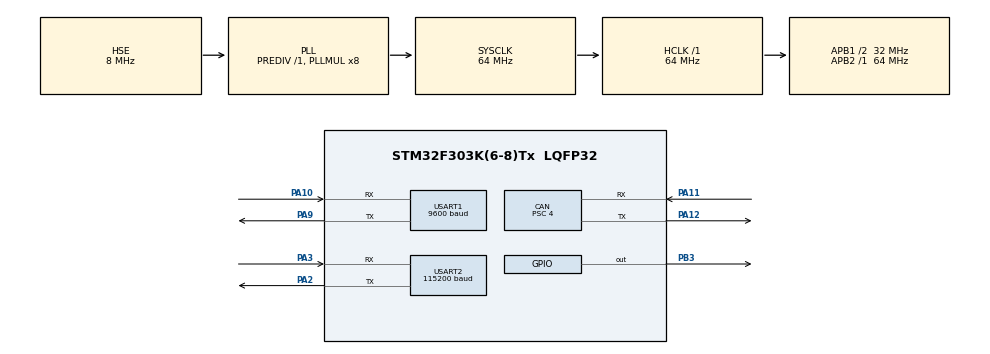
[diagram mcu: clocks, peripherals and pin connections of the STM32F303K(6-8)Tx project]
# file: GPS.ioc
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CAN.BS1=CAN_BS1_6TQ
CAN.CalculateBaudRate=1000000
CAN.CalculateTimeBit=1000
CAN.CalculateTimeQuantum=125.0
CAN.Prescaler=4
Dma.Request0=USART1_TX
Dma.Request1=USART1_RX
Dma.USART1_RX.1.Direction=DMA_PERIPH_TO_MEMORY
Dma.USART1_RX.1.Instance=DMA1_Channel5
Dma.USART1_RX.1.MemDataAlignment=DMA_MDATAALIGN_BYTE
Dma.USART1_RX.1.MemInc=DMA_MINC_ENABLE
Dma.USART1_RX.1.Mode=DMA_NORMAL
Dma.USART1_RX.1.PeriphDataAlignment=DMA_PDATAALIGN_BYTE
Dma.USART1_RX.1.PeriphInc=DMA_PINC_DISABLE
Dma.USART1_RX.1.Priority=DMA_PRIORITY_LOW
Dma.USART1_TX.0.Direction=DMA_MEMORY_TO_PERIPH
Dma.USART1_TX.0.Instance=DMA1_Channel4
Dma.USART1_TX.0.MemDataAlignment=DMA_MDATAALIGN_BYTE
Dma.USART1_TX.0.MemInc=DMA_MINC_ENABLE
Dma.USART1_TX.0.Mode=DMA_NORMAL
Dma.USART1_TX.0.PeriphDataAlignment=DMA_PDATAALIGN_BYTE
Dma.USART1_TX.0.PeriphInc=DMA_PINC_DISABLE
Dma.USART1_TX.0.Priority=DMA_PRIORITY_LOW
Mcu.Family=STM32F3
Mcu.Name=STM32F303K(6-8)Tx
Mcu.Package=LQFP32
NVIC.DMA1_Channel4_IRQn=true\:0\:0\:false\:false\:true\:false\:true\:true
NVIC.DMA1_Channel5_IRQn=true\:0\:0\:false\:false\:true\:false\:true\:true
NVIC.PriorityGroup=NVIC_PRIORITYGROUP_4
NVIC.USART1_IRQn=true\:0\:0\:false\:false\:true\:true\:true\:true
PA10.Mode=Asynchronous
PA10.Signal=USART1_RX
PA11.Mode=CAN_Activate
PA11.Signal=CAN_RX
PA12.Mode=CAN_Activate
PA12.Signal=CAN_TX
PA2.Mode=Asynchronous
PA2.Signal=USART2_TX
PA3.Mode=Asynchronous
PA3.Signal=USART2_RX
PA9.Mode=Asynchronous
PA9.Signal=USART1_TX
PB3.Signal=GPIO_Output
PF0\ /\ OSC_IN.Mode=HSE-External-Oscillator
PF0\ /\ OSC_IN.Signal=RCC_OSC_IN
PF1\ /\ OSC_OUT.Mode=HSE-External-Oscillator
PF1\ /\ OSC_OUT.Signal=RCC_OSC_OUT
ProjectManager.HeapSize=0x200
ProjectManager.StackSize=0x400
ProjectManager.TargetToolchain=STM32CubeIDE
RCC.AHBFreq_Value=64000000
RCC.APB1CLKDivider=RCC_HCLK_DIV2
RCC.APB1Freq_Value=32000000
RCC.APB1TimFreq_Value=64000000
RCC.APB2Freq_Value=64000000
RCC.APB2TimFreq_Value=64000000
RCC.CortexFreq_Value=64000000
RCC.HCLKFreq_Value=64000000
RCC.HSE_VALUE=8000000
RCC.HSI_VALUE=8000000
RCC.PLLMUL=RCC_PLL_MUL8
RCC.PLLSourceVirtual=RCC_PLLSOURCE_HSE
RCC.SYSCLKFreq_VALUE=64000000
RCC.SYSCLKSourceVirtual=RCC_SYSCLKSOURCE_PLLCLK
USART1.BaudRate=9600
USART1.VirtualMode-Asynchronous=VM_ASYNC
USART2.BaudRate=115200
USART2.VirtualMode-Asynchronous=VM_ASYNC
board=custom

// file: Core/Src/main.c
/* USER CODE BEGIN Header */
/**
  ******************************************************************************
  * @file           : main.c
  * @brief          : Main program body
  ******************************************************************************
  * @attention
  *
  * Copyright (c) 2024 STMicroelectronics.
  * All rights reserved.
  *
  * This software is licensed under terms that can be found in the LICENSE file
  * in the root directory of this software component.
  * If no LICENSE file comes with this software, it is provided AS-IS.
  *
  ******************************************************************************
  */
/* USER CODE END Header */
#include "main.h"

/* USER CODE BEGIN Includes */
#include <stdio.h>
#include <GNSS.h>
#include <can.h>

/* USER CODE END Includes */

CAN_HandleTypeDef hcan;

UART_HandleTypeDef huart1;
UART_HandleTypeDef huart2;
DMA_HandleTypeDef hdma_usart1_tx;
DMA_HandleTypeDef hdma_usart1_rx;

void SystemClock_Config(void);
static void MX_GPIO_Init(void);
static void MX_DMA_Init(void);
static void MX_USART1_UART_Init(void);
static void MX_USART2_UART_Init(void);
static void MX_CAN_Init(void);
/* USER CODE BEGIN PFP */

#ifdef __GNUC__
#define PUTCHAR_PROTOTYPE int __io_putchar(int ch)
#else
#define PUTCHAR_PROTOTYPE int fputc(int ch, FILE *f)
#endif

PUTCHAR_PROTOTYPE
{
  HAL_UART_Transmit(&huart2, (uint8_t *)&ch, 1, HAL_MAX_DELAY);
  return ch;
}

void Change_UART1_BaudRate(uint32_t baudRate);

/* USER CODE END PFP */

int main(void)
{

  /* MCU Configuration--------------------------------------------------------*/

  /* Reset of all peripherals, Initializes the Flash interface and the Systick. */
  HAL_Init();

  /* Configure the system clock */
  SystemClock_Config();

  /* Initialize all configured peripherals */
  MX_GPIO_Init();
  MX_DMA_Init();
  MX_USART1_UART_Init();
  MX_USART2_UART_Init();
  MX_CAN_Init();
  /* USER CODE BEGIN 2 */

  /* Set up activations for CAN */
  HAL_CAN_ActivateNotification(&hcan, CAN_IT_TX_MAILBOX_EMPTY);
  HAL_CAN_ActivateNotification(&hcan, CAN_IT_ERROR);
  HAL_CAN_ActivateNotification(&hcan, CAN_IT_BUSOFF);
  HAL_CAN_ActivateNotification(&hcan, CAN_IT_RX_FIFO0_MSG_PENDING);

  if (HAL_CAN_Start(&hcan) != HAL_OK)
  {
	  Error_Handler();
  }

  GNSS_Init(&GNSS_Handle, &huart1);
  HAL_Delay(100);

  GNSS_SetUBXConfig(&GNSS_Handle);
  Change_UART1_BaudRate(115200);
  HAL_UART_Receive_IT(GNSS_Handle.huart, GNSS_Handle.uartWorkingBuffer, 10);
  HAL_Delay(100);

  GNSS_LoadConfig(&GNSS_Handle);
  uint32_t Timer = HAL_GetTick();
  uint32_t Timer2 = HAL_GetTick();

  // Set operating mode of GPS
  GNSS_SetMode(&GNSS_Handle,Automotiv);

  /* USER CODE END 2 */

  /* Infinite loop */
  /* USER CODE BEGIN WHILE */
  int counter = 0;
  while (1)
  {
    /* USER CODE END WHILE */

    /* USER CODE BEGIN 3 */
    if ((HAL_GetTick() - Timer) > 100)
    {
		GNSS_GetPVTData(&GNSS_Handle);
		GNSS_ParseBuffer(&GNSS_Handle);

		if(GNSS_Handle.ckA_calc == GNSS_Handle.ckA_data && GNSS_Handle.ckB_calc == GNSS_Handle.ckB_data) {
			HAL_GPIO_WritePin(GPIOB, GPIO_PIN_3, GPIO_PIN_SET);

//			printf("FixType: %d\r\n", GNSS_Handle.fixType);
//			printf("Speed: %f\r\n", GNSS_Handle.gSpeed);
//			printf("Head mot: %f\r\n\n", GNSS_Handle.headMot);

			send_date(&GNSS_Handle);
			send_position(&GNSS_Handle);
			send_speed(&GNSS_Handle);
			send_status(&GNSS_Handle);

			if(counter == 50)
			{
				HAL_Delay(15);
				GNSS_GetDOPData(&GNSS_Handle);
				GNSS_ParseBuffer(&GNSS_Handle);

				counter = 0;

				printf("HDOP: %.2f\r\n\n", GNSS_Handle.hDOP);
			}
			else
			{
				counter = counter + 1;
			}

		} else {
			HAL_GPIO_WritePin(GPIOB, GPIO_PIN_3, GPIO_PIN_RESET);

			printf("Checksum error\r\n\n");
		}

		Timer = HAL_GetTick();
    }

  }
  /* USER CODE END 3 */
}

void SystemClock_Config(void)
{
  RCC_OscInitTypeDef RCC_OscInitStruct = {0};
  RCC_ClkInitTypeDef RCC_ClkInitStruct = {0};
  RCC_PeriphCLKInitTypeDef PeriphClkInit = {0};

  /** Initializes the RCC Oscillators according to the specified parameters
  * in the RCC_OscInitTypeDef structure.
  */
  RCC_OscInitStruct.OscillatorType = RCC_OSCILLATORTYPE_HSE;
  RCC_OscInitStruct.HSEState = RCC_HSE_ON;
  RCC_OscInitStruct.HSEPredivValue = RCC_HSE_PREDIV_DIV1;
  RCC_OscInitStruct.HSIState = RCC_HSI_ON;
  RCC_OscInitStruct.PLL.PLLState = RCC_PLL_ON;
  RCC_OscInitStruct.PLL.PLLSource = RCC_PLLSOURCE_HSE;
  RCC_OscInitStruct.PLL.PLLMUL = RCC_PLL_MUL8;
  if (HAL_RCC_OscConfig(&RCC_OscInitStruct) != HAL_OK)
  {
    Error_Handler();
  }

  /** Initializes the CPU, AHB and APB buses clocks
  */
  RCC_ClkInitStruct.ClockType = RCC_CLOCKTYPE_HCLK|RCC_CLOCKTYPE_SYSCLK
                              |RCC_CLOCKTYPE_PCLK1|RCC_CLOCKTYPE_PCLK2;
  RCC_ClkInitStruct.SYSCLKSource = RCC_SYSCLKSOURCE_PLLCLK;
  RCC_ClkInitStruct.AHBCLKDivider = RCC_SYSCLK_DIV1;
  RCC_ClkInitStruct.APB1CLKDivider = RCC_HCLK_DIV2;
  RCC_ClkInitStruct.APB2CLKDivider = RCC_HCLK_DIV1;

  if (HAL_RCC_ClockConfig(&RCC_ClkInitStruct, FLASH_LATENCY_2) != HAL_OK)
  {
    Error_Handler();
  }
  PeriphClkInit.PeriphClockSelection = RCC_PERIPHCLK_USART1;
  PeriphClkInit.Usart1ClockSelection = RCC_USART1CLKSOURCE_PCLK1;
  if (HAL_RCCEx_PeriphCLKConfig(&PeriphClkInit) != HAL_OK)
  {
    Error_Handler();
  }
}

static void MX_CAN_Init(void)
{

  hcan.Instance = CAN;
  hcan.Init.Prescaler = 4;
  hcan.Init.Mode = CAN_MODE_NORMAL;
  hcan.Init.SyncJumpWidth = CAN_SJW_1TQ;
  hcan.Init.TimeSeg1 = CAN_BS1_6TQ;
  hcan.Init.TimeSeg2 = CAN_BS2_1TQ;
  hcan.Init.TimeTriggeredMode = DISABLE;
  hcan.Init.AutoBusOff = DISABLE;
  hcan.Init.AutoWakeUp = DISABLE;
  hcan.Init.AutoRetransmission = DISABLE;
  hcan.Init.ReceiveFifoLocked = DISABLE;
  hcan.Init.TransmitFifoPriority = DISABLE;
  if (HAL_CAN_Init(&hcan) != HAL_OK)
  {
    Error_Handler();
  }

}

static void MX_USART1_UART_Init(void)
{

  huart1.Instance = USART1;
  huart1.Init.BaudRate = 9600;
  huart1.Init.WordLength = UART_WORDLENGTH_8B;
  huart1.Init.StopBits = UART_STOPBITS_1;
  huart1.Init.Parity = UART_PARITY_NONE;
  huart1.Init.Mode = UART_MODE_TX_RX;
  huart1.Init.HwFlowCtl = UART_HWCONTROL_NONE;
  huart1.Init.OverSampling = UART_OVERSAMPLING_16;
  huart1.Init.OneBitSampling = UART_ONE_BIT_SAMPLE_DISABLE;
  huart1.AdvancedInit.AdvFeatureInit = UART_ADVFEATURE_NO_INIT;
  if (HAL_UART_Init(&huart1) != HAL_OK)
  {
    Error_Handler();
  }

}

static void MX_USART2_UART_Init(void)
{

  huart2.Instance = USART2;
  huart2.Init.BaudRate = 115200;
  huart2.Init.WordLength = UART_WORDLENGTH_8B;
  huart2.Init.StopBits = UART_STOPBITS_1;
  huart2.Init.Parity = UART_PARITY_NONE;
  huart2.Init.Mode = UART_MODE_TX_RX;
  huart2.Init.HwFlowCtl = UART_HWCONTROL_NONE;
  huart2.Init.OverSampling = UART_OVERSAMPLING_16;
  huart2.Init.OneBitSampling = UART_ONE_BIT_SAMPLE_DISABLE;
  huart2.AdvancedInit.AdvFeatureInit = UART_ADVFEATURE_NO_INIT;
  if (HAL_UART_Init(&huart2) != HAL_OK)
  {
    Error_Handler();
  }

}

static void MX_DMA_Init(void)
{

  /* DMA controller clock enable */
  __HAL_RCC_DMA1_CLK_ENABLE();

  /* DMA interrupt init */
  /* DMA1_Channel4_IRQn interrupt configuration */
  HAL_NVIC_SetPriority(DMA1_Channel4_IRQn, 0, 0);
  HAL_NVIC_EnableIRQ(DMA1_Channel4_IRQn);
  /* DMA1_Channel5_IRQn interrupt configuration */
  HAL_NVIC_SetPriority(DMA1_Channel5_IRQn, 0, 0);
  HAL_NVIC_EnableIRQ(DMA1_Channel5_IRQn);

}

static void MX_GPIO_Init(void)
{
  GPIO_InitTypeDef GPIO_InitStruct = {0};

  /* GPIO Ports Clock Enable */
  __HAL_RCC_GPIOF_CLK_ENABLE();
  __HAL_RCC_GPIOA_CLK_ENABLE();
  __HAL_RCC_GPIOB_CLK_ENABLE();

  /*Configure GPIO pin Output Level */
  HAL_GPIO_WritePin(GPIOB, GPIO_PIN_3, GPIO_PIN_RESET);

  /*Configure GPIO pin : PB3 */
  GPIO_InitStruct.Pin = GPIO_PIN_3;
  GPIO_InitStruct.Mode = GPIO_MODE_OUTPUT_PP;
  GPIO_InitStruct.Pull = GPIO_NOPULL;
  GPIO_InitStruct.Speed = GPIO_SPEED_FREQ_LOW;
  HAL_GPIO_Init(GPIOB, &GPIO_InitStruct);

}

/* USER CODE BEGIN 4 */

/* Function to change UART1 baud rate */
void Change_UART1_BaudRate(uint32_t baudRate)
{
  /* Deinitialize the UART peripheral */
  HAL_UART_DeInit(&huart1);

  /* Update the UART baud rate */
  huart1.Init.BaudRate = baudRate;

  /* Reinitialize the UART peripheral with the new baud rate */
  if (HAL_UART_Init(&huart1) != HAL_OK)
  {
    Error_Handler();
  }
}

void HAL_UART_RxCpltCallback(UART_HandleTypeDef *huart) {
    if (huart->Instance == USART1) {
    	__NOP();
    }
}

/* USER CODE END 4 */

void Error_Handler(void)
{
  __disable_irq();
  while (1)
  {
  }
}
